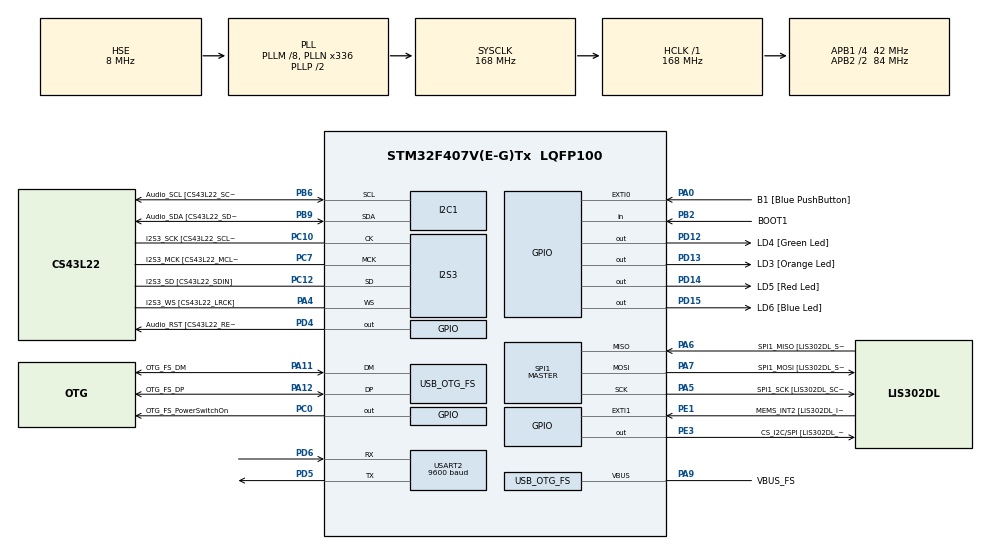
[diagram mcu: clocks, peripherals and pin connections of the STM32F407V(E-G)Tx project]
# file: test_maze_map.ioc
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I2S3.AudioFreq-Half_Duplex_Master=I2S_AUDIOFREQ_96K
I2S3.ErrorAudioFreq=-2.34 %
I2S3.ErrorAudioFreq-Half_Duplex_Master=0.8 %
I2S3.FullDuplexMode=I2S_FULLDUPLEXMODE_DISABLE
I2S3.Instance=SPI$Index
I2S3.RealAudioFreq=93.75 KHz
I2S3.RealAudioFreq-Half_Duplex_Master=96.774 KHz
I2S3.VirtualMode=I2S_MODE_MASTER
Mcu.Family=STM32F4
Mcu.Name=STM32F407V(E-G)Tx
Mcu.Package=LQFP100
NVIC.OTG_FS_IRQn=true\:0\:0\:false\:false\:true\:true\:true\:true
NVIC.PriorityGroup=NVIC_PRIORITYGROUP_0
NVIC.USART2_IRQn=true\:0\:0\:false\:false\:true\:true\:true\:true
PA0-WKUP.GPIO_Label=B1 [Blue PushButton]
PA0-WKUP.GPIO_ModeDefaultEXTI=GPIO_MODE_EVT_RISING
PA0-WKUP.GPIO_PuPd=GPIO_NOPULL
PA0-WKUP.Signal=GPXTI0
PA10.GPIO_Label=OTG_FS_ID
PA10.GPIO_Mode=GPIO_MODE_AF_PP
PA10.GPIO_PuPd=GPIO_NOPULL
PA10.GPIO_Speed=GPIO_SPEED_FREQ_LOW
PA10.Signal=USB_OTG_FS_ID
PA11.GPIO_Label=OTG_FS_DM
PA11.GPIO_Mode=GPIO_MODE_AF_PP
PA11.GPIO_PuPd=GPIO_NOPULL
PA11.GPIO_Speed=GPIO_SPEED_FREQ_LOW
PA11.Mode=Host_Only
PA11.Signal=USB_OTG_FS_DM
PA12.GPIO_Label=OTG_FS_DP
PA12.GPIO_Mode=GPIO_MODE_AF_PP
PA12.GPIO_PuPd=GPIO_NOPULL
PA12.GPIO_Speed=GPIO_SPEED_FREQ_LOW
PA12.Mode=Host_Only
PA12.Signal=USB_OTG_FS_DP
PA13.GPIO_Label=SWDIO
PA13.Mode=Serial_Wire
PA13.Signal=SYS_JTMS-SWDIO
PA14.GPIO_Label=SWCLK
PA14.Mode=Serial_Wire
PA14.Signal=SYS_JTCK-SWCLK
PA4.GPIO_Label=I2S3_WS [CS43L22_LRCK]
PA4.GPIO_Mode=GPIO_MODE_AF_PP
PA4.GPIO_PuPd=GPIO_NOPULL
PA4.GPIO_Speed=GPIO_SPEED_FREQ_LOW
PA4.Mode=Half_Duplex_Master
PA4.Signal=I2S3_WS
PA5.GPIO_Label=SPI1_SCK [LIS302DL_SCL/SPC]
PA5.GPIO_Mode=GPIO_MODE_AF_PP
PA5.GPIO_PuPd=GPIO_NOPULL
PA5.GPIO_Speed=GPIO_SPEED_FREQ_LOW
PA5.Mode=Full_Duplex_Master
PA5.Signal=SPI1_SCK
PA6.GPIO_Label=SPI1_MISO [LIS302DL_SDO]
PA6.GPIO_Mode=GPIO_MODE_AF_PP
PA6.GPIO_PuPd=GPIO_NOPULL
PA6.GPIO_Speed=GPIO_SPEED_FREQ_LOW
PA6.Mode=Full_Duplex_Master
PA6.Signal=SPI1_MISO
PA7.GPIO_Label=SPI1_MOSI [LIS302DL_SDA/SDI/SDO]
PA7.GPIO_Mode=GPIO_MODE_AF_PP
PA7.GPIO_PuPd=GPIO_NOPULL
PA7.GPIO_Speed=GPIO_SPEED_FREQ_LOW
PA7.Mode=Full_Duplex_Master
PA7.Signal=SPI1_MOSI
PA9.GPIO_Label=VBUS_FS
PA9.GPIO_Mode=GPIO_MODE_INPUT
PA9.GPIO_PuPd=GPIO_NOPULL
PA9.Mode=Activate_VBUS
PA9.Signal=USB_OTG_FS_VBUS
PB10.GPIO_Label=CLK_IN [MP45DT02_CLK]
PB10.GPIO_Mode=GPIO_MODE_AF_PP
PB10.GPIO_PuPd=GPIO_NOPULL
PB10.GPIO_Speed=GPIO_SPEED_FREQ_LOW
PB10.Signal=I2S2_CK
PB2.GPIO_Label=BOOT1
PB2.GPIO_Mode=GPIO_MODE_INPUT
PB2.GPIO_PuPd=GPIO_NOPULL
PB2.Signal=GPIO_Input
PB3.GPIO_Label=SWO
PB3.Signal=SYS_JTDO-SWO
PB6.GPIO_Label=Audio_SCL [CS43L22_SCL]
PB6.GPIO_Mode=GPIO_MODE_AF_OD
PB6.GPIO_Pu=GPIO_PULLUP
PB6.GPIO_PuPd=GPIO_NOPULL
PB6.GPIO_Speed=GPIO_SPEED_FREQ_LOW
PB6.Mode=I2C
PB6.Signal=I2C1_SCL
PB9.GPIO_Label=Audio_SDA [CS43L22_SDA]
PB9.GPIO_Mode=GPIO_MODE_AF_OD
PB9.GPIO_Pu=GPIO_PULLUP
PB9.GPIO_PuPd=GPIO_NOPULL
PB9.GPIO_Speed=GPIO_SPEED_FREQ_LOW
PB9.Mode=I2C
PB9.Signal=I2C1_SDA
PC0.GPIO_Label=OTG_FS_PowerSwitchOn
PC0.GPIO_PuPd=GPIO_NOPULL
PC0.GPIO_Speed=GPIO_SPEED_FREQ_LOW
PC0.PinState=GPIO_PIN_SET
PC0.Signal=GPIO_Output
PC10.GPIO_Label=I2S3_SCK [CS43L22_SCLK]
PC10.GPIO_Mode=GPIO_MODE_AF_PP
PC10.GPIO_PuPd=GPIO_NOPULL
PC10.GPIO_Speed=GPIO_SPEED_FREQ_LOW
PC10.Mode=Half_Duplex_Master
PC10.Signal=I2S3_CK
PC12.GPIO_Label=I2S3_SD [CS43L22_SDIN]
PC12.GPIO_Mode=GPIO_MODE_AF_PP
PC12.GPIO_PuPd=GPIO_NOPULL
PC12.GPIO_Speed=GPIO_SPEED_FREQ_LOW
PC12.Mode=Half_Duplex_Master
PC12.Signal=I2S3_SD
PC14-OSC32_IN.GPIO_Label=PC14-OSC32_IN
PC14-OSC32_IN.Mode=LSE-External-Oscillator
PC14-OSC32_IN.Signal=RCC_OSC32_IN
PC15-OSC32_OUT.GPIO_Label=PC15-OSC32_OUT
PC15-OSC32_OUT.Mode=LSE-External-Oscillator
PC15-OSC32_OUT.Signal=RCC_OSC32_OUT
PC3.GPIO_Label=PDM_OUT [MP45DT02_DOUT]
PC3.GPIO_Mode=GPIO_MODE_AF_PP
PC3.GPIO_PuPd=GPIO_NOPULL
PC3.GPIO_Speed=GPIO_SPEED_FREQ_LOW
PC3.Signal=I2S2_SD
PC7.GPIO_Label=I2S3_MCK [CS43L22_MCLK]
PC7.GPIO_Mode=GPIO_MODE_AF_PP
PC7.GPIO_PuPd=GPIO_NOPULL
PC7.GPIO_Speed=GPIO_SPEED_FREQ_LOW
PC7.Mode=Master_Clock_Activated
PC7.Signal=I2S3_MCK
PD12.GPIO_Label=LD4 [Green Led]
PD12.GPIO_PuPd=GPIO_NOPULL
PD12.GPIO_Speed=GPIO_SPEED_FREQ_LOW
PD12.Signal=GPIO_Output
PD13.GPIO_Label=LD3 [Orange Led]
PD13.GPIO_PuPd=GPIO_NOPULL
PD13.GPIO_Speed=GPIO_SPEED_FREQ_LOW
PD13.Signal=GPIO_Output
PD14.GPIO_Label=LD5 [Red Led]
PD14.GPIO_PuPd=GPIO_NOPULL
PD14.GPIO_Speed=GPIO_SPEED_FREQ_LOW
PD14.Signal=GPIO_Output
PD15.GPIO_Label=LD6 [Blue Led]
PD15.GPIO_PuPd=GPIO_NOPULL
PD15.GPIO_Speed=GPIO_SPEED_FREQ_LOW
PD15.Signal=GPIO_Output
PD4.GPIO_Label=Audio_RST [CS43L22_RESET]
PD4.GPIO_PuPd=GPIO_NOPULL
PD4.GPIO_Speed=GPIO_SPEED_FREQ_LOW
PD4.Signal=GPIO_Output
PD5.Mode=Asynchronous
PD5.Signal=USART2_TX
PD6.Mode=Asynchronous
PD6.Signal=USART2_RX
PE1.GPIO_Label=MEMS_INT2 [LIS302DL_INT2]
PE1.GPIO_ModeDefaultEXTI=GPIO_MODE_EVT_RISING
PE1.GPIO_PuPd=GPIO_NOPULL
PE1.Signal=GPXTI1
PE3.GPIO_Label=CS_I2C/SPI [LIS302DL_CS_I2C/SPI]
PE3.GPIO_PuPd=GPIO_NOPULL
PE3.GPIO_Speed=GPIO_SPEED_FREQ_LOW
PE3.Signal=GPIO_Output
PH0-OSC_IN.GPIO_Label=PH0-OSC_IN
PH0-OSC_IN.Mode=HSE-External-Oscillator
PH0-OSC_IN.Signal=RCC_OSC_IN
PH1-OSC_OUT.GPIO_Label=PH1-OSC_OUT
PH1-OSC_OUT.Mode=HSE-External-Oscillator
PH1-OSC_OUT.Signal=RCC_OSC_OUT
ProjectManager.HeapSize=0x200
ProjectManager.StackSize=0x400
ProjectManager.TargetToolchain=CMake
RCC.48MHZClocksFreq_Value=48000000
RCC.AHBFreq_Value=168000000
RCC.APB1CLKDivider=RCC_HCLK_DIV4
RCC.APB1Freq_Value=42000000
RCC.APB1TimFreq_Value=84000000
RCC.APB2CLKDivider=RCC_HCLK_DIV2
RCC.APB2Freq_Value=84000000
RCC.APB2TimFreq_Value=168000000
RCC.CortexFreq_Value=168000000
RCC.HCLKFreq_Value=168000000
RCC.HSE_VALUE=8000000
RCC.HSI_VALUE=16000000
RCC.PLLM=8
RCC.PLLN=336
RCC.PLLQ=7
RCC.SYSCLKFreq_VALUE=168000000
RCC.SYSCLKSource=RCC_SYSCLKSOURCE_PLLCLK
RCC.VCOOutputFreq_Value=336000000
SPI1.BaudRatePrescaler-Full_Duplex_Master=SPI_BAUDRATEPRESCALER_2
SPI1.CalculateBaudRate-Full_Duplex_Master=42.0 MBits/s
SPI1.Direction=SPI_DIRECTION_2LINES
SPI1.Mode=SPI_MODE_MASTER
SPI1.Mode-Full_Duplex_Master=SPI_MODE_MASTER
SPI1.VirtualType=VM_MASTER
USART2.BaudRate=9600
USART2.VirtualMode=VM_ASYNC
USB_HOST.BSP.number=1
USB_HOST.USBH_HandleTypeDef-CDC_FS=hUsbHostFS
USB_HOST.VirtualModeFS=Cdc
USB_HOST0.BSP.STBoard=false
USB_HOST0.BSP.api=Unknown
USB_HOST0.BSP.instance=PC0
USB_HOST0.BSP.ip=GPIO
USB_HOST0.BSP.mode=Output
USB_HOST0.BSP.name=Drive_VBUS_FS
USB_HOST0.BSP.solution=PC0
USB_OTG_FS.VirtualMode=Host_Only
USB_OTG_FS.phy_itface=HCD_PHY_EMBEDDED
VP_USB_HOST_VS_USB_HOST_CDC_FS.Mode=CDC_FS
board=STM32F407G-DISC1

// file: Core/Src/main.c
/* USER CODE BEGIN Header */
/**
  ******************************************************************************
  * @file           : main.c
  * @brief          : Main program body
  ******************************************************************************
  * @attention
  *
  * Copyright (c) 2026 STMicroelectronics.
  * All rights reserved.
  *
  * This software is licensed under terms that can be found in the LICENSE file
  * in the root directory of this software component.
  * If no LICENSE file comes with this software, it is provided AS-IS.
  *
  ******************************************************************************
  */
/* USER CODE END Header */
#include "main.h"

#include "maze.h"
#include "usb_host.h"

/* USER CODE BEGIN Includes */
#include <stdio.h>
#include <string.h>
/* USER CODE END Includes */

/* USER CODE BEGIN PD */
typedef enum {
  ROBOT_IDLE = 0,
  ROBOT_WAITING_MODE,
  ROBOT_MAP_MODE,
  ROBOT_TRAVERSE_MODE
} robot_state_t;
/* USER CODE END PD */

I2C_HandleTypeDef hi2c1;

I2S_HandleTypeDef hi2s3;

SPI_HandleTypeDef hspi1;

UART_HandleTypeDef huart2;

/* USER CODE BEGIN PV */

uint8_t rxData;
volatile uint8_t stopSignal = 1;
volatile robot_state_t robotState = ROBOT_IDLE;

/* USER CODE END PV */

void SystemClock_Config(void);
static void MX_GPIO_Init(void);
static void MX_I2C1_Init(void);
static void MX_I2S3_Init(void);
static void MX_SPI1_Init(void);
static void MX_USART2_UART_Init(void);
void MX_USB_HOST_Process(void);

/* USER CODE BEGIN 0 */
void Maze_Print(void)
{
  char buf[8];
  int len;

  for (uint8_t row = 0; row < MAZE_ROWS; row++)
  {
    for (uint8_t col = 0; col < MAZE_COLS; col++)
    {
      len = snprintf(buf, sizeof(buf), "%3d", maze[row][col]);
      HAL_UART_Transmit(&huart2, (uint8_t*)buf, len, HAL_MAX_DELAY);
    }
    // newline after each row
    HAL_UART_Transmit(&huart2, (uint8_t*)"\r\n", 2, HAL_MAX_DELAY);
  }
  HAL_UART_Transmit(&huart2, (uint8_t*)"\r\n", 2, HAL_MAX_DELAY);
}

/* USER CODE END 0 */

int main(void)
{

  /* MCU Configuration--------------------------------------------------------*/

  /* Reset of all peripherals, Initializes the Flash interface and the Systick. */
  HAL_Init();

  /* Configure the system clock */
  SystemClock_Config();

  /* Initialize all configured peripherals */
  MX_GPIO_Init();
  MX_I2C1_Init();
  MX_I2S3_Init();
  MX_SPI1_Init();
  MX_USART2_UART_Init();
  MX_USB_HOST_Init();
  /* USER CODE BEGIN 2 */
  HAL_UART_Receive_IT(&huart2, &rxData, 1);
  /* USER CODE END 2 */

  /* Infinite loop */
  /* USER CODE BEGIN WHILE */
  while (1)
  {

  }
  /* USER CODE END 3 */
}

void SystemClock_Config(void)
{
  RCC_OscInitTypeDef RCC_OscInitStruct = {0};
  RCC_ClkInitTypeDef RCC_ClkInitStruct = {0};

  /** Configure the main internal regulator output voltage
  */
  __HAL_RCC_PWR_CLK_ENABLE();
  __HAL_PWR_VOLTAGESCALING_CONFIG(PWR_REGULATOR_VOLTAGE_SCALE1);

  /** Initializes the RCC Oscillators according to the specified parameters
  * in the RCC_OscInitTypeDef structure.
  */
  RCC_OscInitStruct.OscillatorType = RCC_OSCILLATORTYPE_HSE;
  RCC_OscInitStruct.HSEState = RCC_HSE_ON;
  RCC_OscInitStruct.PLL.PLLState = RCC_PLL_ON;
  RCC_OscInitStruct.PLL.PLLSource = RCC_PLLSOURCE_HSE;
  RCC_OscInitStruct.PLL.PLLM = 8;
  RCC_OscInitStruct.PLL.PLLN = 336;
  RCC_OscInitStruct.PLL.PLLP = RCC_PLLP_DIV2;
  RCC_OscInitStruct.PLL.PLLQ = 7;
  if (HAL_RCC_OscConfig(&RCC_OscInitStruct) != HAL_OK)
  {
    Error_Handler();
  }

  /** Initializes the CPU, AHB and APB buses clocks
  */
  RCC_ClkInitStruct.ClockType = RCC_CLOCKTYPE_HCLK|RCC_CLOCKTYPE_SYSCLK
                              |RCC_CLOCKTYPE_PCLK1|RCC_CLOCKTYPE_PCLK2;
  RCC_ClkInitStruct.SYSCLKSource = RCC_SYSCLKSOURCE_PLLCLK;
  RCC_ClkInitStruct.AHBCLKDivider = RCC_SYSCLK_DIV1;
  RCC_ClkInitStruct.APB1CLKDivider = RCC_HCLK_DIV4;
  RCC_ClkInitStruct.APB2CLKDivider = RCC_HCLK_DIV2;

  if (HAL_RCC_ClockConfig(&RCC_ClkInitStruct, FLASH_LATENCY_5) != HAL_OK)
  {
    Error_Handler();
  }
}

static void MX_I2C1_Init(void)
{

  hi2c1.Instance = I2C1;
  hi2c1.Init.ClockSpeed = 100000;
  hi2c1.Init.DutyCycle = I2C_DUTYCYCLE_2;
  hi2c1.Init.OwnAddress1 = 0;
  hi2c1.Init.AddressingMode = I2C_ADDRESSINGMODE_7BIT;
  hi2c1.Init.DualAddressMode = I2C_DUALADDRESS_DISABLE;
  hi2c1.Init.OwnAddress2 = 0;
  hi2c1.Init.GeneralCallMode = I2C_GENERALCALL_DISABLE;
  hi2c1.Init.NoStretchMode = I2C_NOSTRETCH_DISABLE;
  if (HAL_I2C_Init(&hi2c1) != HAL_OK)
  {
    Error_Handler();
  }

}

static void MX_I2S3_Init(void)
{

  hi2s3.Instance = SPI3;
  hi2s3.Init.Mode = I2S_MODE_MASTER_TX;
  hi2s3.Init.Standard = I2S_STANDARD_PHILIPS;
  hi2s3.Init.DataFormat = I2S_DATAFORMAT_16B;
  hi2s3.Init.MCLKOutput = I2S_MCLKOUTPUT_ENABLE;
  hi2s3.Init.AudioFreq = I2S_AUDIOFREQ_96K;
  hi2s3.Init.CPOL = I2S_CPOL_LOW;
  hi2s3.Init.ClockSource = I2S_CLOCK_PLL;
  hi2s3.Init.FullDuplexMode = I2S_FULLDUPLEXMODE_DISABLE;
  if (HAL_I2S_Init(&hi2s3) != HAL_OK)
  {
    Error_Handler();
  }

}

static void MX_SPI1_Init(void)
{

  /* SPI1 parameter configuration*/
  hspi1.Instance = SPI1;
  hspi1.Init.Mode = SPI_MODE_MASTER;
  hspi1.Init.Direction = SPI_DIRECTION_2LINES;
  hspi1.Init.DataSize = SPI_DATASIZE_8BIT;
  hspi1.Init.CLKPolarity = SPI_POLARITY_LOW;
  hspi1.Init.CLKPhase = SPI_PHASE_1EDGE;
  hspi1.Init.NSS = SPI_NSS_SOFT;
  hspi1.Init.BaudRatePrescaler = SPI_BAUDRATEPRESCALER_2;
  hspi1.Init.FirstBit = SPI_FIRSTBIT_MSB;
  hspi1.Init.TIMode = SPI_TIMODE_DISABLE;
  hspi1.Init.CRCCalculation = SPI_CRCCALCULATION_DISABLE;
  hspi1.Init.CRCPolynomial = 10;
  if (HAL_SPI_Init(&hspi1) != HAL_OK)
  {
    Error_Handler();
  }

}

static void MX_USART2_UART_Init(void)
{

  huart2.Instance = USART2;
  huart2.Init.BaudRate = 9600;
  huart2.Init.WordLength = UART_WORDLENGTH_8B;
  huart2.Init.StopBits = UART_STOPBITS_1;
  huart2.Init.Parity = UART_PARITY_NONE;
  huart2.Init.Mode = UART_MODE_TX_RX;
  huart2.Init.HwFlowCtl = UART_HWCONTROL_NONE;
  huart2.Init.OverSampling = UART_OVERSAMPLING_16;
  if (HAL_UART_Init(&huart2) != HAL_OK)
  {
    Error_Handler();
  }

}

static void MX_GPIO_Init(void)
{
  GPIO_InitTypeDef GPIO_InitStruct = {0};

  /* GPIO Ports Clock Enable */
  __HAL_RCC_GPIOE_CLK_ENABLE();
  __HAL_RCC_GPIOC_CLK_ENABLE();
  __HAL_RCC_GPIOH_CLK_ENABLE();
  __HAL_RCC_GPIOA_CLK_ENABLE();
  __HAL_RCC_GPIOB_CLK_ENABLE();
  __HAL_RCC_GPIOD_CLK_ENABLE();

  /*Configure GPIO pin Output Level */
  HAL_GPIO_WritePin(CS_I2C_SPI_GPIO_Port, CS_I2C_SPI_Pin, GPIO_PIN_RESET);

  /*Configure GPIO pin Output Level */
  HAL_GPIO_WritePin(OTG_FS_PowerSwitchOn_GPIO_Port, OTG_FS_PowerSwitchOn_Pin, GPIO_PIN_SET);

  /*Configure GPIO pin Output Level */
  HAL_GPIO_WritePin(GPIOD, LD4_Pin|LD3_Pin|LD5_Pin|LD6_Pin
                          |Audio_RST_Pin, GPIO_PIN_RESET);

  /*Configure GPIO pin : CS_I2C_SPI_Pin */
  GPIO_InitStruct.Pin = CS_I2C_SPI_Pin;
  GPIO_InitStruct.Mode = GPIO_MODE_OUTPUT_PP;
  GPIO_InitStruct.Pull = GPIO_NOPULL;
  GPIO_InitStruct.Speed = GPIO_SPEED_FREQ_LOW;
  HAL_GPIO_Init(CS_I2C_SPI_GPIO_Port, &GPIO_InitStruct);

  /*Configure GPIO pin : OTG_FS_PowerSwitchOn_Pin */
  GPIO_InitStruct.Pin = OTG_FS_PowerSwitchOn_Pin;
  GPIO_InitStruct.Mode = GPIO_MODE_OUTPUT_PP;
  GPIO_InitStruct.Pull = GPIO_NOPULL;
  GPIO_InitStruct.Speed = GPIO_SPEED_FREQ_LOW;
  HAL_GPIO_Init(OTG_FS_PowerSwitchOn_GPIO_Port, &GPIO_InitStruct);

  /*Configure GPIO pin : PDM_OUT_Pin */
  GPIO_InitStruct.Pin = PDM_OUT_Pin;
  GPIO_InitStruct.Mode = GPIO_MODE_AF_PP;
  GPIO_InitStruct.Pull = GPIO_NOPULL;
  GPIO_InitStruct.Speed = GPIO_SPEED_FREQ_LOW;
  GPIO_InitStruct.Alternate = GPIO_AF5_SPI2;
  HAL_GPIO_Init(PDM_OUT_GPIO_Port, &GPIO_InitStruct);

  /*Configure GPIO pin : B1_Pin */
  GPIO_InitStruct.Pin = B1_Pin;
  GPIO_InitStruct.Mode = GPIO_MODE_EVT_RISING;
  GPIO_InitStruct.Pull = GPIO_NOPULL;
  HAL_GPIO_Init(B1_GPIO_Port, &GPIO_InitStruct);

  /*Configure GPIO pin : BOOT1_Pin */
  GPIO_InitStruct.Pin = BOOT1_Pin;
  GPIO_InitStruct.Mode = GPIO_MODE_INPUT;
  GPIO_InitStruct.Pull = GPIO_NOPULL;
  HAL_GPIO_Init(BOOT1_GPIO_Port, &GPIO_InitStruct);

  /*Configure GPIO pin : CLK_IN_Pin */
  GPIO_InitStruct.Pin = CLK_IN_Pin;
  GPIO_InitStruct.Mode = GPIO_MODE_AF_PP;
  GPIO_InitStruct.Pull = GPIO_NOPULL;
  GPIO_InitStruct.Speed = GPIO_SPEED_FREQ_LOW;
  GPIO_InitStruct.Alternate = GPIO_AF5_SPI2;
  HAL_GPIO_Init(CLK_IN_GPIO_Port, &GPIO_InitStruct);

  /*Configure GPIO pins : LD4_Pin LD3_Pin LD5_Pin LD6_Pin
                           Audio_RST_Pin */
  GPIO_InitStruct.Pin = LD4_Pin|LD3_Pin|LD5_Pin|LD6_Pin
                          |Audio_RST_Pin;
  GPIO_InitStruct.Mode = GPIO_MODE_OUTPUT_PP;
  GPIO_InitStruct.Pull = GPIO_NOPULL;
  GPIO_InitStruct.Speed = GPIO_SPEED_FREQ_LOW;
  HAL_GPIO_Init(GPIOD, &GPIO_InitStruct);

  /*Configure GPIO pin : MEMS_INT2_Pin */
  GPIO_InitStruct.Pin = MEMS_INT2_Pin;
  GPIO_InitStruct.Mode = GPIO_MODE_EVT_RISING;
  GPIO_InitStruct.Pull = GPIO_NOPULL;
  HAL_GPIO_Init(MEMS_INT2_GPIO_Port, &GPIO_InitStruct);

}

/* USER CODE BEGIN 4 */
void HAL_UART_RxCpltCallback(UART_HandleTypeDef *huart)
{
  if (huart->Instance != USART2) return;

  if (awaiting_coords)
  {
    if (rxData == '\n')
    {
      coord_buf[coord_idx] = '\0';
      uint8_t sr, sc, er, ec;
      if (sscanf((char*)coord_buf, "%hhu,%hhu,%hhu,%hhu", &sr, &sc, &er, &ec) == 4)
      {
        MazePos_t start = {sr, sc};
        MazePos_t end   = {er, ec};
        static MazePos_t path[MAZE_ROWS * MAZE_COLS];
        uint8_t path_len = 0;
        uint8_t found = Maze_FindPath(start, end, path, &path_len);
        if (found)
          Maze_TransmitWithPath(&huart2, path, path_len);
        else
          HAL_UART_Transmit(&huart2, (uint8_t*)"NO_PATH\r\n", 9, HAL_MAX_DELAY);
      }
      else
      {
        HAL_UART_Transmit(&huart2, (uint8_t*)"BAD_FORMAT\r\n", 12, HAL_MAX_DELAY);
      }
      awaiting_coords = 0;
      coord_idx = 0;
      memset(coord_buf, 0, sizeof(coord_buf));
    }
    else if (rxData != '\r' && coord_idx < sizeof(coord_buf) - 1)
    {
      coord_buf[coord_idx++] = rxData;
    }
  }
  else
  {
    if (rxData == 'Y' || rxData == 'y')
    {
      stopSignal = 0;
      robotState = ROBOT_WAITING_MODE;
    }
    else if (rxData == 'N' || rxData == 'n')
    {
      stopSignal = 1;
      robotState = ROBOT_IDLE;
      Maze_Print();
    }
    else if (rxData == 'M' || rxData == 'm')
    {
      if (robotState == ROBOT_WAITING_MODE)
        robotState = ROBOT_MAP_MODE;
    }
    else if (rxData == 'T' || rxData == 't')
    {
      if (robotState == ROBOT_WAITING_MODE)
      {
        robotState = ROBOT_TRAVERSE_MODE;
        awaiting_coords = 1;
        coord_idx = 0;
        memset(coord_buf, 0, sizeof(coord_buf));
        HAL_UART_Transmit(&huart2, (uint8_t*)"COORDS?\r\n", 9, HAL_MAX_DELAY);
      }
    }

    switch (robotState)
    {
      case ROBOT_IDLE:
        HAL_GPIO_WritePin(LD3_GPIO_Port, LD3_Pin, GPIO_PIN_RESET);
        HAL_GPIO_WritePin(LD4_GPIO_Port, LD4_Pin, GPIO_PIN_RESET);
        HAL_GPIO_WritePin(LD5_GPIO_Port, LD5_Pin, GPIO_PIN_RESET);
        HAL_GPIO_WritePin(LD6_GPIO_Port, LD6_Pin, GPIO_PIN_SET);
        break;
      case ROBOT_WAITING_MODE:
        HAL_GPIO_WritePin(LD3_GPIO_Port, LD3_Pin, GPIO_PIN_RESET);
        HAL_GPIO_WritePin(LD4_GPIO_Port, LD4_Pin, GPIO_PIN_SET);
        HAL_GPIO_WritePin(LD5_GPIO_Port, LD5_Pin, GPIO_PIN_RESET);
        HAL_GPIO_WritePin(LD6_GPIO_Port, LD6_Pin, GPIO_PIN_RESET);
        break;
      case ROBOT_MAP_MODE:
        HAL_GPIO_WritePin(LD3_GPIO_Port, LD3_Pin, GPIO_PIN_SET);
        HAL_GPIO_WritePin(LD4_GPIO_Port, LD4_Pin, GPIO_PIN_RESET);
        HAL_GPIO_WritePin(LD5_GPIO_Port, LD5_Pin, GPIO_PIN_RESET);
        HAL_GPIO_WritePin(LD6_GPIO_Port, LD6_Pin, GPIO_PIN_RESET);
        break;
      case ROBOT_TRAVERSE_MODE:
        HAL_GPIO_WritePin(LD3_GPIO_Port, LD3_Pin, GPIO_PIN_RESET);
        HAL_GPIO_WritePin(LD4_GPIO_Port, LD4_Pin, GPIO_PIN_RESET);
        HAL_GPIO_WritePin(LD5_GPIO_Port, LD5_Pin, GPIO_PIN_SET);
        HAL_GPIO_WritePin(LD6_GPIO_Port, LD6_Pin, GPIO_PIN_RESET);
        break;
    }
  }

  HAL_UART_Receive_IT(&huart2, &rxData, 1);
}
/* USER CODE END 4 */

void Error_Handler(void)
{
  __disable_irq();
  while (1)
  {
  }
}
